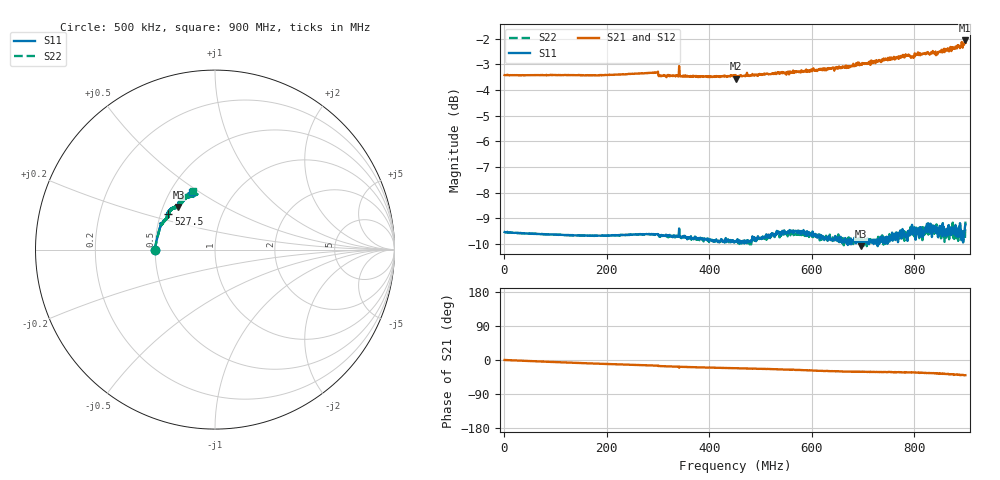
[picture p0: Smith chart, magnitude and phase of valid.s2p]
! Vector Network Analyzer VNA R2
! Tucson Amateur Packet Radio
! Saturday, 9 November, 2019  17:48:47
! Frequency  S11  S21  S12  S22
! ListType=Lin
# HZ  S  RI R 50
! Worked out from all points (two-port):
!   1020 points, 500 kHz to 900 MHz, reference 50 ohm
!   highest |S21| = -2.06 dB at 899.1 MHz (marker M1); lowest = -3.6 dB at 451.6 MHz (marker M2)
!   |S21| within 3 dB of the highest: start of sweep to end of sweep
!   lowest |S11| = -10.1 dB at 696.1 MHz (marker M3), VSWR 1.91, Z = 30 + j15.8 ohm
!   |S11| at or under -10 dB: 670.0964 MHz to 670.6994 MHz (602.9 kHz wide, 0.0899 % of centre); 674.7589 MHz to 675.019 MHz (260.1 kHz wide, 0.0385 % of centre); 727.8445 MHz to 729.0571 MHz (1.213 MHz wide, 0.166 % of centre)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
!   |S22| runs from -10.1 to -9.1 dB; largest |S21 - S12| = 0.084
!   S11 on the Smith chart (normalised r, x): 500 kHz: 0.50, +0.00; 527.5 MHz: 0.55, +0.24; 900 MHz: 0.64, +0.47
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500000  -0.3332 0.00018  0.6748 -8.2e-07  0.6753 -8.2e-07  -0.3332 0.000308
1.505638e8  -0.3203 0.0717  0.6676 -0.0955  0.6679 -0.0968  -0.32 0.0731
2.953312e8  -0.3021 0.1329  0.66 -0.173  0.6601 -0.1766  -0.3004 0.1346
3.006276e8  -0.2991 0.1361  0.6494 -0.1857  0.6471 -0.1862  -0.2979 0.1384
3.456467e8  -0.2875 0.1514  0.638 -0.2081  0.6372 -0.212  -0.2863 0.1521
4.506914e8  -0.2648 0.179  0.627 -0.2506  0.6281 -0.252  -0.2637 0.1808
4.515741e8  -0.2645 0.1806  0.6175 -0.2441  0.6177 -0.2477  -0.2608 0.1804
5.274887e8  -0.2602 0.1975  0.6201 -0.2807  0.6186 -0.2841  -0.2569 0.2003
6.007552e8  -0.2363 0.2278  0.6084 -0.3176  0.6053 -0.3257  -0.2334 0.228
6.713734e8  -0.2132 0.2416  0.6029 -0.3596  0.6015 -0.364  -0.2098 0.2426
6.960898e8  -0.2035 0.2375  0.6059 -0.3652  0.6031 -0.3677  -0.2094 0.2387
7.508189e8  -0.1982 0.2598  0.6156 -0.3777  0.6188 -0.3871  -0.1878 0.2584
7.852453e8  -0.1862 0.2647  0.6234 -0.3925  0.6181 -0.4008  -0.1773 0.2765
7.949553e8  -0.1839 0.2801  0.6102 -0.4047  0.6131 -0.4063  -0.1789 0.2904
8.117272e8  -0.1595 0.2877  0.6143 -0.4087  0.6148 -0.407  -0.1617 0.2908
8.408572e8  -0.1482 0.302  0.6136 -0.4274  0.6059 -0.4402  -0.1437 0.3113
8.567463e8  -0.136 0.3096  0.6071 -0.4402  0.5969 -0.4585  -0.1286 0.3016
8.7087e8  -0.136 0.3118  0.6015 -0.4741  0.5932 -0.466  -0.1385 0.3089
8.876418e8  -0.1168 0.3208  0.5998 -0.4771  0.5931 -0.4972  -0.1117 0.3225
8.947036e8  -0.1131 0.3075  0.5918 -0.4825  0.5885 -0.5055  -0.1166 0.3153
8.991173e8  -0.108 0.3234  0.6007 -0.5109  0.5916 -0.5215  -0.1021 0.3064
9e8  -0.1276 0.3197  0.5963 -0.5035  0.5991 -0.502  -0.1227 0.327
